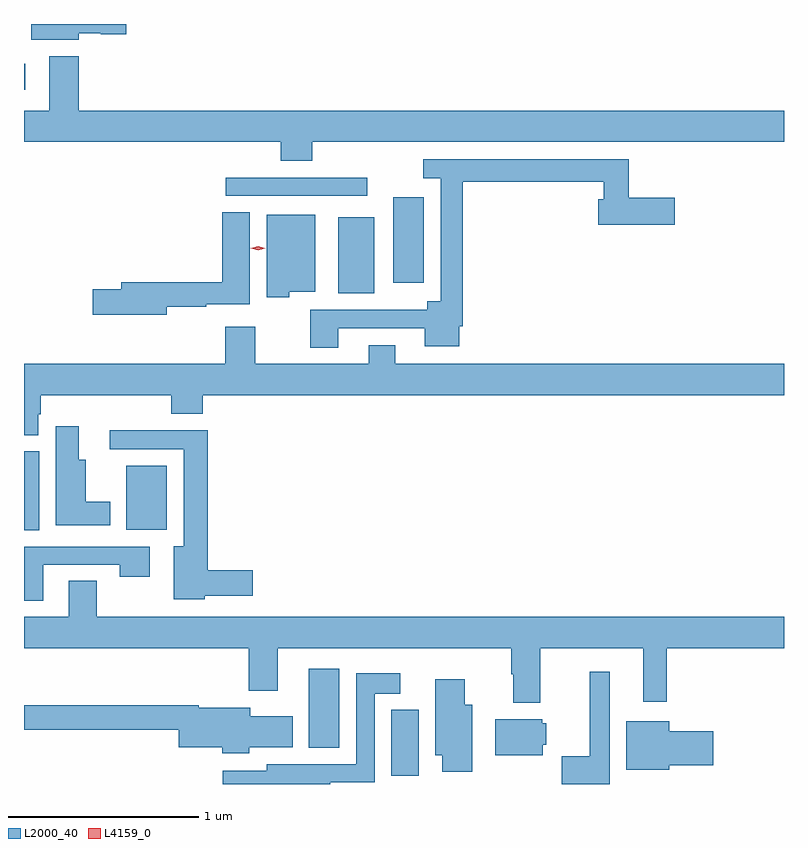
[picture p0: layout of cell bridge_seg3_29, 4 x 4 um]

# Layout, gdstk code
import gdstk
lib = gdstk.Library(unit=1e-6, precision=1e-09)
def R(c, l, rs):  # rectangles x0, y0, x1, y1
    for r in rs: c.add(gdstk.rectangle(r[:2], r[2:], *l))
def P(c, l, *ps):  # polygons
    for p in ps: c.add(gdstk.Polygon(p, *l))
L2000_40 = (2000, 40)
L4159_0 = (4159, 0)

bridge_seg3_29 = lib.new_cell('bridge_seg3_29')
R(bridge_seg3_29, L2000_40, [(695.267,693.585,695.41,693.931), (694.832,693.731,694.993,694.147), (693.333,694.876,693.412,695.292), (693.872,694.88,694.084,695.215), (694.988,696.125,695.176,696.523), (695.276,696.18,695.437,696.628), (694.395,696.636,695.14,696.732), (693.333,697.196,693.34,697.331)])
P(bridge_seg3_29, L2000_40, [(693.622,697.493),(693.738,697.493),(693.738,697.486),(693.871,697.486),(693.871,697.541),(693.371,697.541),(693.371,697.457),(693.622,697.457)],
  [(694.85,696.92),(697.333,696.92),(697.333,697.084),(693.62,697.084),(693.62,697.372),(693.467,697.372),(693.467,697.084),(693.333,697.084),(693.333,696.92),(694.685,696.92),(694.685,696.821),(694.85,696.821)],
  [(694.987,695.94),(695.441,695.94),(695.441,695.846),(695.623,695.846),(695.623,695.95),(695.642,695.95),(695.642,696.712),(696.383,696.712),(696.383,696.619),(696.356,696.619),(696.356,696.485),(696.757,696.485),(696.757,696.627),(696.515,696.627),(696.515,696.828),(695.433,696.828),(695.433,696.728),(695.526,696.728),(695.526,696.082),(695.456,696.082),(695.456,696.036),(694.84,696.036),(694.84,695.838),(694.987,695.838)],
  [(694.084,696.054),(694.292,696.054),(694.292,696.066),(694.522,696.066),(694.522,696.551),(694.376,696.551),(694.376,696.182),(693.845,696.182),(693.845,696.146),(693.696,696.146),(693.696,696.011),(694.084,696.011)],
  [(694.728,696.131),(694.867,696.131),(694.867,696.538),(694.61,696.538),(694.61,696.104),(694.728,696.104)],
  [(693.409,695.487),(693.422,695.487),(693.422,695.588),(694.109,695.588),(694.109,695.489),(694.274,695.489),(694.274,695.588),(697.333,695.588),(697.333,695.752),(695.287,695.752),(695.287,695.851),(695.147,695.851),(695.147,695.752),(694.551,695.752),(694.551,695.947),(694.391,695.947),(694.391,695.752),(693.333,695.752),(693.333,695.377),(693.409,695.377)],
  [(693.787,695.026),(693.658,695.026),(693.658,695.248),(693.622,695.248),(693.622,695.425),(693.5,695.425),(693.5,694.904),(693.787,694.904)],
  [(694.284,694.532),(694.537,694.532),(694.537,694.667),(694.301,694.667),(694.301,695.402),(693.783,695.402),(693.783,695.304),(694.175,695.304),(694.175,694.792),(694.121,694.792),(694.121,694.514),(694.284,694.514)],
  [(693.433,694.695),(693.838,694.695),(693.838,694.632),(693.994,694.632),(693.994,694.791),(693.333,694.791),(693.333,694.506),(693.433,694.506)],
  [(696.049,694.256),(696.593,694.256),(696.593,693.975),(696.715,693.975),(696.715,694.256),(697.333,694.256),(697.333,694.42),(693.717,694.42),(693.717,694.61),(693.569,694.61),(693.569,694.42),(693.333,694.42),(693.333,694.256),(694.517,694.256),(694.517,694.032),(694.669,694.032),(694.669,694.256),(695.897,694.256),(695.897,694.118),(695.909,694.118),(695.909,693.968),(696.049,693.968)],
  [(696.415,694.132),(696.311,694.132),(696.311,693.688),(696.164,693.688),(696.164,693.541),(696.415,693.541)],
  [(694.945,693.549),(695.178,693.549),(695.178,694.016),(695.314,694.016),(695.314,694.123),(695.082,694.123),(695.082,693.645),(694.836,693.645),(694.836,693.646),(694.61,693.646),(694.61,693.61),(694.38,693.61),(694.38,693.541),(694.945,693.541)],
  [(695.692,693.958),(695.653,693.958),(695.653,694.093),(695.498,694.093),(695.498,693.692),(695.534,693.692),(695.534,693.606),(695.692,693.606)],
  [(694.518,693.734),(694.747,693.734),(694.747,693.898),(694.524,693.898),(694.524,693.943),(694.252,693.943),(694.252,693.955),(693.333,693.955),(693.333,693.826),(694.148,693.826),(694.148,693.734),(694.376,693.734),(694.376,693.704),(694.518,693.704)],
  [(696.064,693.747),(696.082,693.747),(696.082,693.861),(696.06,693.861),(696.06,693.883),(695.813,693.883),(695.813,693.692),(696.064,693.692)],
  [(696.73,693.641),(696.961,693.641),(696.961,693.819),(696.73,693.819),(696.73,693.871),(696.503,693.871),(696.503,693.617),(696.73,693.617)])
P(bridge_seg3_29, L4159_0, [(694.565,696.351),(694.527,696.361),(694.527,696.362),(694.527,696.362),(694.565,696.371),(694.603,696.361),(694.603,696.36),(694.603,696.36)])

lib.write_gds('bridge_seg3_29.gds')
